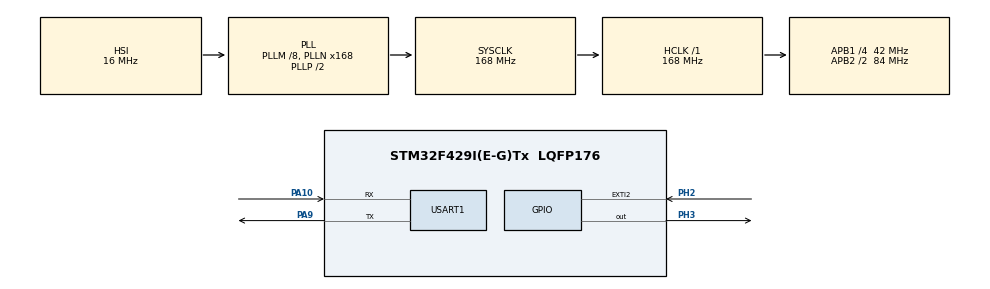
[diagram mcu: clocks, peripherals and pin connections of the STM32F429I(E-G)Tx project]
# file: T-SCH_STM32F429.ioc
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Dma.Request0=USART1_RX
Dma.Request1=USART1_TX
Dma.USART1_RX.0.Direction=DMA_PERIPH_TO_MEMORY
Dma.USART1_RX.0.FIFOMode=DMA_FIFOMODE_DISABLE
Dma.USART1_RX.0.Instance=DMA2_Stream2
Dma.USART1_RX.0.MemDataAlignment=DMA_MDATAALIGN_BYTE
Dma.USART1_RX.0.MemInc=DMA_MINC_ENABLE
Dma.USART1_RX.0.Mode=DMA_NORMAL
Dma.USART1_RX.0.PeriphDataAlignment=DMA_PDATAALIGN_BYTE
Dma.USART1_RX.0.PeriphInc=DMA_PINC_DISABLE
Dma.USART1_RX.0.Priority=DMA_PRIORITY_LOW
Dma.USART1_TX.1.Direction=DMA_MEMORY_TO_PERIPH
Dma.USART1_TX.1.FIFOMode=DMA_FIFOMODE_DISABLE
Dma.USART1_TX.1.Instance=DMA2_Stream7
Dma.USART1_TX.1.MemDataAlignment=DMA_MDATAALIGN_BYTE
Dma.USART1_TX.1.MemInc=DMA_MINC_ENABLE
Dma.USART1_TX.1.Mode=DMA_NORMAL
Dma.USART1_TX.1.PeriphDataAlignment=DMA_PDATAALIGN_BYTE
Dma.USART1_TX.1.PeriphInc=DMA_PINC_DISABLE
Dma.USART1_TX.1.Priority=DMA_PRIORITY_LOW
Mcu.Family=STM32F4
Mcu.Name=STM32F429I(E-G)Tx
Mcu.Package=LQFP176
NVIC.DMA2_Stream2_IRQn=true\:0\:0\:false\:false\:true\:false\:true
NVIC.DMA2_Stream7_IRQn=true\:0\:0\:false\:false\:true\:false\:true
NVIC.EXTI2_IRQn=true\:0\:0\:false\:false\:true\:true\:true
NVIC.PriorityGroup=NVIC_PRIORITYGROUP_4
NVIC.TIM1_TRG_COM_TIM11_IRQn=true\:0\:0\:false\:false\:true\:true\:true
NVIC.TIM6_DAC_IRQn=true\:0\:0\:false\:false\:true\:true\:true
NVIC.TIM7_IRQn=true\:0\:0\:false\:false\:true\:true\:true
NVIC.USART1_IRQn=true\:0\:0\:false\:false\:true\:true\:true
PA10.Mode=Asynchronous
PA10.Signal=USART1_RX
PA13.Mode=Serial_Wire
PA13.Signal=SYS_JTMS-SWDIO
PA14.Mode=Serial_Wire
PA14.Signal=SYS_JTCK-SWCLK
PA9.Mode=Asynchronous
PA9.Signal=USART1_TX
PC14/OSC32_IN.Mode=LSE-External-Oscillator
PC14/OSC32_IN.Signal=RCC_OSC32_IN
PC15/OSC32_OUT.Mode=LSE-External-Oscillator
PC15/OSC32_OUT.Signal=RCC_OSC32_OUT
PH0/OSC_IN.Mode=HSE-External-Oscillator
PH0/OSC_IN.Signal=RCC_OSC_IN
PH1/OSC_OUT.Mode=HSE-External-Oscillator
PH1/OSC_OUT.Signal=RCC_OSC_OUT
PH2.Signal=GPXTI2
PH3.Signal=GPIO_Output
ProjectManager.HeapSize=0x200
ProjectManager.StackSize=0x400
ProjectManager.TargetToolchain=MDK-ARM V5.32
RCC.48MHZClocksFreq_Value=84000000
RCC.AHBFreq_Value=168000000
RCC.APB1CLKDivider=RCC_HCLK_DIV4
RCC.APB1Freq_Value=42000000
RCC.APB1TimFreq_Value=84000000
RCC.APB2CLKDivider=RCC_HCLK_DIV2
RCC.APB2Freq_Value=84000000
RCC.APB2TimFreq_Value=168000000
RCC.CortexFreq_Value=168000000
RCC.HCLKFreq_Value=168000000
RCC.HSE_VALUE=25000000
RCC.HSI_VALUE=16000000
RCC.PLLM=8
RCC.PLLN=168
RCC.SYSCLKFreq_VALUE=168000000
RCC.SYSCLKSource=RCC_SYSCLKSOURCE_PLLCLK
RCC.VCOOutputFreq_Value=336000000
TIM11.Period=1000-1
TIM11.Prescaler=16800-1
TIM6.Period=2000-1
TIM6.Prescaler=1680-1
TIM7.Period=2000-1
TIM7.Prescaler=1680-1
USART1.VirtualMode=VM_ASYNC
VP_TIM11_VS_ClockSourceINT.Mode=Enable_Timer
VP_TIM6_VS_ClockSourceINT.Mode=Enable_Timer
VP_TIM7_VS_ClockSourceINT.Mode=Enable_Timer
board=custom

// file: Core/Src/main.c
/* USER CODE BEGIN Header */
/**
  ******************************************************************************
  * @file           : main.c
  * @brief          : Main program body
  ******************************************************************************
  * @attention
  *
  * Copyright (c) 2022 STMicroelectronics.
  * All rights reserved.
  *
  * This software is licensed under terms that can be found in the LICENSE file
  * in the root directory of this software component.
  * If no LICENSE file comes with this software, it is provided AS-IS.
  *
  ******************************************************************************
  */
/* USER CODE END Header */
#include "main.h"
#include "dma.h"
#include "tim.h"
#include "usart.h"
#include "gpio.h"

/* USER CODE BEGIN Includes */
#include "tsch_global.h"
/* USER CODE END Includes */

/* USER CODE BEGIN PV */
TScheduler_Type   Tim6_Sch;
TSchTask_Type     EH_Tim6Task1;

TScheduler_Type   Tim7_Sch;
TSchTask_Type     H_Tim7Task1;
TSchTask_Type     H_Tim7Task2;
TSchTask_Type     M_Tim7Task3;
TSchTask_Type     M_Tim7Task4;

TScheduler_Type   Tim11_Sch;
TSchTask_Type     L_Tim11Task1;

TScheduler_Type   High_Msg;
TSchTask_Type     H_MsgTask1;

TScheduler_Type   Mid_Sch;
TSchTask_Type     M_MsgTask2;

TScheduler_Type   Syn_Sch;
TSchTask_Type     EH_SynTask;

/* USER CODE END PV */

void SystemClock_Config(void);

int main(void)
{

  /* MCU Configuration--------------------------------------------------------*/

  /* Reset of all peripherals, Initializes the Flash interface and the Systick. */
  HAL_Init();

  /* Configure the system clock */
  SystemClock_Config();

  /* Initialize all configured peripherals */
  MX_GPIO_Init();
  MX_DMA_Init();
  MX_TIM6_Init();
  MX_TIM7_Init();
  MX_TIM11_Init();
  MX_USART1_UART_Init();

  /* Infinite loop */
  while (1)
  {

  }
}

void SystemClock_Config(void)
{
  RCC_OscInitTypeDef RCC_OscInitStruct = {0};
  RCC_ClkInitTypeDef RCC_ClkInitStruct = {0};

  /** Configure the main internal regulator output voltage
  */
  __HAL_RCC_PWR_CLK_ENABLE();
  __HAL_PWR_VOLTAGESCALING_CONFIG(PWR_REGULATOR_VOLTAGE_SCALE1);
  /** Initializes the RCC Oscillators according to the specified parameters
  * in the RCC_OscInitTypeDef structure.
  */
  RCC_OscInitStruct.OscillatorType = RCC_OSCILLATORTYPE_HSI;
  RCC_OscInitStruct.HSIState = RCC_HSI_ON;
  RCC_OscInitStruct.HSICalibrationValue = RCC_HSICALIBRATION_DEFAULT;
  RCC_OscInitStruct.PLL.PLLState = RCC_PLL_ON;
  RCC_OscInitStruct.PLL.PLLSource = RCC_PLLSOURCE_HSI;
  RCC_OscInitStruct.PLL.PLLM = 8;
  RCC_OscInitStruct.PLL.PLLN = 168;
  RCC_OscInitStruct.PLL.PLLP = RCC_PLLP_DIV2;
  RCC_OscInitStruct.PLL.PLLQ = 4;
  if (HAL_RCC_OscConfig(&RCC_OscInitStruct) != HAL_OK)
  {
    Error_Handler();
  }
  /** Initializes the CPU, AHB and APB buses clocks
  */
  RCC_ClkInitStruct.ClockType = RCC_CLOCKTYPE_HCLK|RCC_CLOCKTYPE_SYSCLK
                              |RCC_CLOCKTYPE_PCLK1|RCC_CLOCKTYPE_PCLK2;
  RCC_ClkInitStruct.SYSCLKSource = RCC_SYSCLKSOURCE_PLLCLK;
  RCC_ClkInitStruct.AHBCLKDivider = RCC_SYSCLK_DIV1;
  RCC_ClkInitStruct.APB1CLKDivider = RCC_HCLK_DIV4;
  RCC_ClkInitStruct.APB2CLKDivider = RCC_HCLK_DIV2;

  if (HAL_RCC_ClockConfig(&RCC_ClkInitStruct, FLASH_LATENCY_5) != HAL_OK)
  {
    Error_Handler();
  }
}

void Error_Handler(void)
{
  __disable_irq();
  while (1)
  {
  }
}
